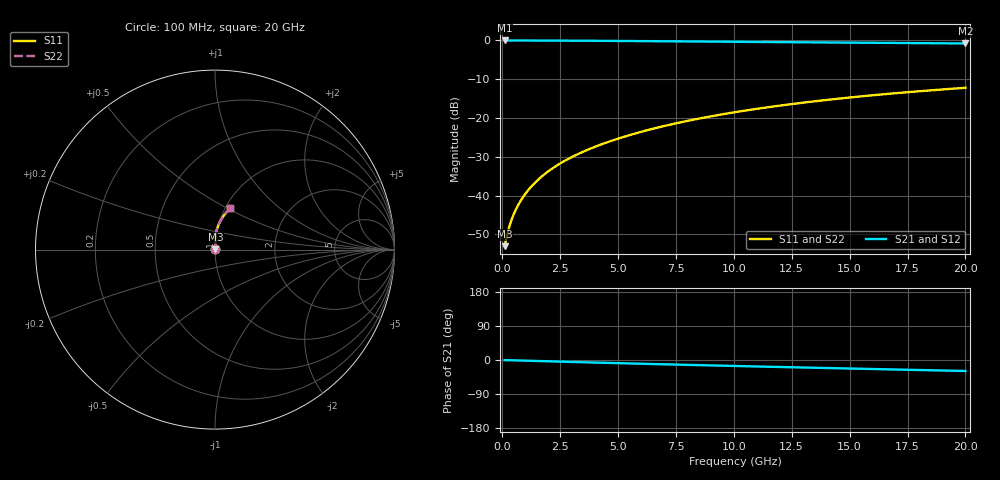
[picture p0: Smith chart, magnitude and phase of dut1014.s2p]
! Touchstone file exported from HFSS 2024.1.0
!  File:  C:/UserFiles/LocalFiles/RDL_TSV_Batchsim/temp_RDL_top_1014_1780042888.aedt
!  Generated:  04:24:02 PM May 29, 2026
!  Design:  RDL_top
!  Project:  temp_RDL_top_1014_1780042888
!  Setup:  Setup1
!  Solution:  Sweep
! Variables:
!  dtsv = 10.80580581um
!  hbump = 3um
!  htsv = 58.44um
!  ldown = 100um
!  lrdl = 441.45um
!  p = 40
!  p1 = 42.59um
!  rhole = 1um
!  t = 450um
!  tdown = 3.915915916um
!  trdl = 3.98um
!  wdown = 15.38538539um
!  wrdl = 23.34um
# GHz S MA R 50.000000
! Terminal data exported
! Port[1] = Box2_T1
! Port[2] = Box2_T2
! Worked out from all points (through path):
!   200 points, 100 MHz to 20 GHz, reference 50 ohm
!   highest |S21| = -0.02 dB at 100 MHz (marker M1); lowest = -0.8 dB at 20 GHz (marker M2)
!   group delay of S21, straight-line fit = 3.98 ps
!   lowest |S11| = -53.0 dB at 100 MHz (marker M3), VSWR 1.00, Z = 50.2 + j0.12 ohm
!   |S11| at or under -10 dB: start of sweep to end of sweep
!   |S22| runs from -53.0 to -12.2 dB; largest |S21 - S12| = 2.6e-15
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0.1  0.002237 32.4  0.9981 -0.2  0.9981 -0.2  0.002237 32.4
! Gamma 0 0 0 0
! Port Impedance 50 0 50 0
0.2  0.003069 49.1  0.998 -0.4  0.998 -0.4  0.003068 49.1
0.3  0.00398 57.7  0.9978 -0.5  0.9978 -0.5  0.00398 57.7
0.4  0.0049 63.2  0.9977 -0.7  0.9977 -0.7  0.004899 63.2
0.5  0.005824 67.1  0.9975 -0.9  0.9975 -0.9  0.005824 67.1
0.6  0.006759 70.1  0.9974 -1.1  0.9974 -1.1  0.006759 70.1
0.8  0.008663 74.4  0.9972 -1.4  0.9972 -1.4  0.008662 74.4
1.1  0.01159 78.5  0.9968 -1.9  0.9968 -1.9  0.01159 78.5
1.3  0.01358 80.3  0.9965 -2.3  0.9965 -2.3  0.01358 80.3
1.6  0.01662 82.3  0.9959 -2.8  0.9959 -2.8  0.01662 82.4
2.1  0.02178 84.5  0.9948 -3.6  0.9948 -3.6  0.02178 84.5
2.7  0.02814 86.1  0.9931 -4.6  0.9931 -4.6  0.02814 86.2
3.5  0.03691 87.4  0.9903 -6.0  0.9903 -6.0  0.03691 87.4
4.2  0.04487 87.9  0.9875 -7.1  0.9875 -7.1  0.04487 87.9
5  0.05427 88.1  0.984 -8.4  0.984 -8.4  0.05428 88.1
6.8  0.0765 87.4  0.9755 -11.1  0.9755 -11.1  0.07652 87.4
8.4  0.09716 86.0  0.9677 -13.5  0.9677 -13.5  0.09718 86.0
10.1  0.1196 83.9  0.9593 -15.9  0.9593 -15.9  0.1196 83.9
11.7  0.1408 81.7  0.9516 -18.1  0.9516 -18.1  0.1408 81.7
13.4  0.1631 79.3  0.9436 -20.4  0.9436 -20.4  0.1632 79.3
16.7  0.2053 74.3  0.9282 -24.8  0.9282 -24.8  0.2054 74.3
20  0.2452 69.5  0.913 -29.0  0.913 -29.0  0.2453 69.5
